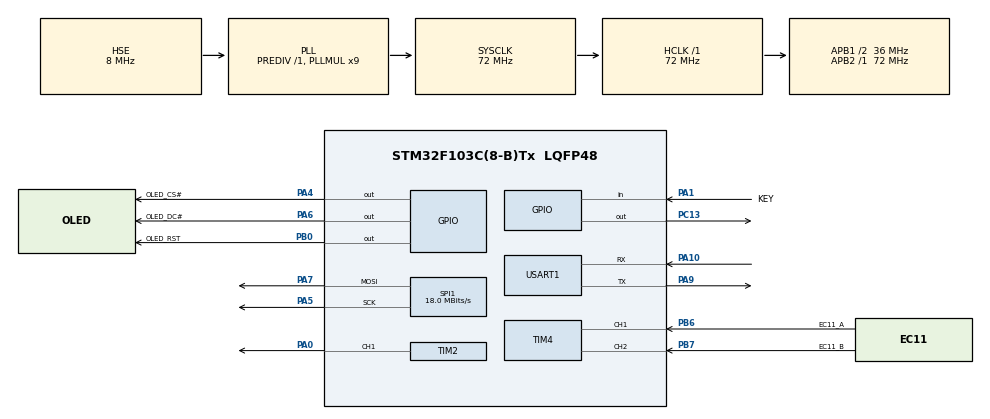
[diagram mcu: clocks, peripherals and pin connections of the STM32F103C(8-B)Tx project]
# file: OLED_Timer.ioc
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Dma.Request0=SPI1_TX
Dma.Request1=USART1_RX
Dma.SPI1_TX.0.Direction=DMA_MEMORY_TO_PERIPH
Dma.SPI1_TX.0.Instance=DMA1_Channel3
Dma.SPI1_TX.0.MemDataAlignment=DMA_MDATAALIGN_BYTE
Dma.SPI1_TX.0.MemInc=DMA_MINC_ENABLE
Dma.SPI1_TX.0.Mode=DMA_NORMAL
Dma.SPI1_TX.0.PeriphDataAlignment=DMA_PDATAALIGN_BYTE
Dma.SPI1_TX.0.PeriphInc=DMA_PINC_DISABLE
Dma.SPI1_TX.0.Priority=DMA_PRIORITY_LOW
Dma.USART1_RX.1.Direction=DMA_PERIPH_TO_MEMORY
Dma.USART1_RX.1.Instance=DMA1_Channel5
Dma.USART1_RX.1.MemDataAlignment=DMA_MDATAALIGN_BYTE
Dma.USART1_RX.1.MemInc=DMA_MINC_ENABLE
Dma.USART1_RX.1.Mode=DMA_NORMAL
Dma.USART1_RX.1.PeriphDataAlignment=DMA_PDATAALIGN_BYTE
Dma.USART1_RX.1.PeriphInc=DMA_PINC_DISABLE
Dma.USART1_RX.1.Priority=DMA_PRIORITY_LOW
Mcu.Family=STM32F1
Mcu.Name=STM32F103C(8-B)Tx
Mcu.Package=LQFP48
NVIC.DMA1_Channel3_IRQn=true\:0\:0\:false\:false\:true\:false\:true\:true
NVIC.DMA1_Channel5_IRQn=true\:0\:0\:false\:false\:true\:false\:true\:true
NVIC.PriorityGroup=NVIC_PRIORITYGROUP_4
NVIC.USART1_IRQn=true\:0\:0\:false\:false\:true\:true\:true\:true
PA0-WKUP.Signal=S_TIM2_CH1_ETR
PA1.GPIO_Label=KEY
PA1.GPIO_PuPd=GPIO_PULLUP
PA1.Signal=GPIO_Input
PA10.Mode=Asynchronous
PA10.Signal=USART1_RX
PA13.Mode=Serial_Wire
PA13.Signal=SYS_JTMS-SWDIO
PA14.Mode=Serial_Wire
PA14.Signal=SYS_JTCK-SWCLK
PA4.GPIO_Label=OLED_CS\#
PA4.Signal=GPIO_Output
PA5.GPIO_Speed=GPIO_SPEED_FREQ_LOW
PA5.Mode=TX_Only_Simplex_Unidirect_Master
PA5.Signal=SPI1_SCK
PA6.GPIO_Label=OLED_DC\#
PA6.Signal=GPIO_Output
PA7.GPIO_Speed=GPIO_SPEED_FREQ_LOW
PA7.Mode=TX_Only_Simplex_Unidirect_Master
PA7.Signal=SPI1_MOSI
PA9.Mode=Asynchronous
PA9.Signal=USART1_TX
PB0.GPIO_Label=OLED_RST
PB0.Signal=GPIO_Output
PB6.GPIO_Label=EC11_A
PB6.GPIO_PuPd=GPIO_NOPULL
PB6.Signal=S_TIM4_CH1
PB7.GPIO_Label=EC11_B
PB7.GPIO_PuPd=GPIO_NOPULL
PB7.Signal=S_TIM4_CH2
PC13-TAMPER-RTC.GPIO_PuPd=GPIO_NOPULL
PC13-TAMPER-RTC.GPIO_Speed=GPIO_SPEED_FREQ_LOW
PC13-TAMPER-RTC.Signal=GPIO_Output
PD0-OSC_IN.Mode=HSE-External-Oscillator
PD0-OSC_IN.Signal=RCC_OSC_IN
PD1-OSC_OUT.Mode=HSE-External-Oscillator
PD1-OSC_OUT.Signal=RCC_OSC_OUT
ProjectManager.HeapSize=0x200
ProjectManager.StackSize=0x400
ProjectManager.TargetToolchain=Makefile
RCC.AHBFreq_Value=72000000
RCC.APB1CLKDivider=RCC_HCLK_DIV2
RCC.APB1Freq_Value=36000000
RCC.APB1TimFreq_Value=72000000
RCC.APB2Freq_Value=72000000
RCC.APB2TimFreq_Value=72000000
RCC.HCLKFreq_Value=72000000
RCC.PLLMUL=RCC_PLL_MUL9
RCC.PLLSourceVirtual=RCC_PLLSOURCE_HSE
RCC.SYSCLKFreq_VALUE=72000000
RCC.SYSCLKSource=RCC_SYSCLKSOURCE_PLLCLK
RCC.USBFreq_Value=72000000
SH.S_TIM2_CH1_ETR.0=TIM2_CH1,PWM Generation1 CH1
SH.S_TIM4_CH1.0=TIM4_CH1,Encoder_Interface
SH.S_TIM4_CH2.0=TIM4_CH2,Encoder_Interface
SPI1.BaudRatePrescaler=SPI_BAUDRATEPRESCALER_4
SPI1.CalculateBaudRate=18.0 MBits/s
SPI1.Direction=SPI_DIRECTION_2LINES
SPI1.Mode=SPI_MODE_MASTER
SPI1.VirtualType=VM_MASTER
TIM2.Channel-PWM\ Generation1\ CH1=TIM_CHANNEL_1
TIM2.Period=20000-1
TIM2.Prescaler=72-1
TIM2.Pulse-PWM\ Generation1\ CH1=500
TIM4.EncoderMode=TIM_ENCODERMODE_TI12
USART1.VirtualMode=VM_ASYNC
VP_TIM2_VS_ClockSourceINT.Mode=Internal
board=custom

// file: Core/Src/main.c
/* USER CODE BEGIN Header */
/**
  ******************************************************************************
  * @file           : main.c
  * @brief          : Main program body
  ******************************************************************************
  * @attention
  *
  * Copyright (c) 2025 STMicroelectronics.
  * All rights reserved.
  *
  * This software is licensed under terms that can be found in the LICENSE file
  * in the root directory of this software component.
  * If no LICENSE file comes with this software, it is provided AS-IS.
  *
  ******************************************************************************
  */
/* USER CODE END Header */
#include "main.h"

/* USER CODE BEGIN Includes */
#include "u8g2_hal.h"
#include "u8g2.h"
#include <stdio.h>
#include <string.h>

u8g2_t u8g2;
/* USER CODE END Includes */

SPI_HandleTypeDef hspi1;
DMA_HandleTypeDef hdma_spi1_tx;

TIM_HandleTypeDef htim2;
TIM_HandleTypeDef htim4;

UART_HandleTypeDef huart1;
DMA_HandleTypeDef hdma_usart1_rx;

/* USER CODE BEGIN PV */
uint8_t uart_rx_data;
uint8_t uart_rx_buf[64];
uint8_t uart_rx_len;
uint32_t uart_disp_last_tick;
uint32_t uart_show_tick;
uint8_t uart_data_ready;
/* USER CODE END PV */

void SystemClock_Config(void);
static void MX_GPIO_Init(void);
static void MX_DMA_Init(void);
static void MX_SPI1_Init(void);
static void MX_TIM4_Init(void);
static void MX_USART1_UART_Init(void);
static void MX_TIM2_Init(void);

int main(void)
{

  /* MCU Configuration--------------------------------------------------------*/

  /* Reset of all peripherals, Initializes the Flash interface and the Systick. */
  HAL_Init();

  /* Configure the system clock */
  SystemClock_Config();

  /* Initialize all configured peripherals */
  MX_GPIO_Init();
  MX_DMA_Init();
  MX_SPI1_Init();
  MX_TIM4_Init();
  MX_USART1_UART_Init();
  MX_TIM2_Init();
  /* USER CODE BEGIN 2 */
  u8g2_Setup_ssd1327_ws_128x128_f(&u8g2, U8G2_R0, u8x8_byte_hw_spi, u8x8_gpio_and_delay_stm32f1);
  u8g2_InitDisplay(&u8g2);
  u8g2_SetPowerSave(&u8g2, 0);

  HAL_TIM_Encoder_Start(&htim4, TIM_CHANNEL_ALL);
  HAL_TIM_PWM_Start(&htim2, TIM_CHANNEL_1);

  int16_t last_count = 0;
  int16_t target_angle = 0;
  uint8_t angle_selected = 0;
  char str_buf[16];
  uint8_t button_pressed = 0;
  uint32_t fps_frame_count = 0;
  uint32_t fps_last_tick = 0;
  uint8_t fps = 0;
  int16_t scroll_x = 128;
  uint32_t scroll_last_tick = 0;

  uart_rx_len = 0;
  memset(uart_rx_buf, 0, sizeof(uart_rx_buf));
  uart_disp_last_tick = 0;
  uart_show_tick = 0;
  uart_data_ready = 0;
  HAL_UART_Receive_IT(&huart1, &uart_rx_data, 1);
  /* USER CODE END 2 */

  /* Infinite loop */
  while (1)
  {

    /* USER CODE BEGIN 3 */
    static uint32_t last_tick = 0;
    if (HAL_GetTick() - last_tick >= 1000) {
      last_tick = HAL_GetTick();
      HAL_GPIO_TogglePin(GPIOC, GPIO_PIN_13);
    }

    fps_frame_count++;
    if (HAL_GetTick() - fps_last_tick >= 100) {
      fps = fps_frame_count;
      fps_frame_count = 0;
      fps_last_tick = HAL_GetTick();
    }

    int16_t current_count = (int16_t)__HAL_TIM_GET_COUNTER(&htim4);
    if (current_count != last_count) {
      int16_t diff = current_count - last_count;
      if (diff >= 4 || diff <= -4) {
        if (angle_selected) {
          target_angle += (diff > 0) ? 5 : -5;
          if (target_angle < 0) target_angle = 0;
          if (target_angle > 180) target_angle = 180;
        }
        last_count = current_count;
      }
    }

    if (HAL_GetTick() - uart_show_tick >= 2000 && uart_rx_len > 0) {
      uart_rx_len = 0;
      memset(uart_rx_buf, 0, sizeof(uart_rx_buf));
    }

    if (HAL_GetTick() - scroll_last_tick >= 50) {
      scroll_last_tick = HAL_GetTick();
      scroll_x--;
      if (scroll_x < -80) {
        scroll_x = 128;
      }

      u8g2_ClearBuffer(&u8g2);

      u8g2_SetFont(&u8g2, u8g2_font_6x10_tr);
      u8g2_DrawStr(&u8g2, scroll_x, 10, "HIT409LAB");

      u8g2_SetFont(&u8g2, u8g2_font_4x6_tr);
      sprintf(str_buf, "%d", fps);
      u8g2_DrawStr(&u8g2, 0, 127, str_buf);

      if (uart_rx_len > 0) {
        u8g2_DrawStr(&u8g2, 0, 40, (char*)uart_rx_buf);
      }

      u8g2_SetFont(&u8g2, u8g2_font_ncenB10_tr);
      if (angle_selected) {
        uint8_t cx = 6, cy = 55;
        u8g2_DrawHLine(&u8g2, cx-3, cy, 7);
        u8g2_DrawVLine(&u8g2, cx, cy-3, 7);
        u8g2_DrawPixel(&u8g2, cx-2, cy-2);
        u8g2_DrawPixel(&u8g2, cx+2, cy-2);
        u8g2_DrawPixel(&u8g2, cx-2, cy+2);
        u8g2_DrawPixel(&u8g2, cx+2, cy+2);
      } else {
        u8g2_DrawStr(&u8g2, 0, 60, ">");
      }
      u8g2_DrawStr(&u8g2, 15, 60, "Servo");
      sprintf(str_buf, "%d", target_angle);
      u8g2_DrawStr(&u8g2, 60, 60, str_buf);
      u8g2_SetDrawColor(&u8g2, 1);

      u8g2_SendBuffer(&u8g2);
    }

    if (HAL_GPIO_ReadPin(GPIOA, GPIO_PIN_1) == GPIO_PIN_RESET) {
      HAL_Delay(50);
      if (HAL_GPIO_ReadPin(GPIOA, GPIO_PIN_1) == GPIO_PIN_RESET) {
        if (!button_pressed) {
          button_pressed = 1;
          if (!angle_selected) {
            angle_selected = 1;
          } else {
            uint16_t pwm = 580 + (target_angle * 11);
            __HAL_TIM_SET_COMPARE(&htim2, TIM_CHANNEL_1, pwm);
            angle_selected = 0;
          }
        }
      }
    } else {
      button_pressed = 0;
    }
  }
  /* USER CODE END 3 */
}

void SystemClock_Config(void)
{
  RCC_OscInitTypeDef RCC_OscInitStruct = {0};
  RCC_ClkInitTypeDef RCC_ClkInitStruct = {0};

  /** Initializes the RCC Oscillators according to the specified parameters
  * in the RCC_OscInitTypeDef structure.
  */
  RCC_OscInitStruct.OscillatorType = RCC_OSCILLATORTYPE_HSE;
  RCC_OscInitStruct.HSEState = RCC_HSE_ON;
  RCC_OscInitStruct.HSEPredivValue = RCC_HSE_PREDIV_DIV1;
  RCC_OscInitStruct.HSIState = RCC_HSI_ON;
  RCC_OscInitStruct.PLL.PLLState = RCC_PLL_ON;
  RCC_OscInitStruct.PLL.PLLSource = RCC_PLLSOURCE_HSE;
  RCC_OscInitStruct.PLL.PLLMUL = RCC_PLL_MUL9;
  if (HAL_RCC_OscConfig(&RCC_OscInitStruct) != HAL_OK)
  {
    Error_Handler();
  }

  /** Initializes the CPU, AHB and APB buses clocks
  */
  RCC_ClkInitStruct.ClockType = RCC_CLOCKTYPE_HCLK|RCC_CLOCKTYPE_SYSCLK
                              |RCC_CLOCKTYPE_PCLK1|RCC_CLOCKTYPE_PCLK2;
  RCC_ClkInitStruct.SYSCLKSource = RCC_SYSCLKSOURCE_PLLCLK;
  RCC_ClkInitStruct.AHBCLKDivider = RCC_SYSCLK_DIV1;
  RCC_ClkInitStruct.APB1CLKDivider = RCC_HCLK_DIV2;
  RCC_ClkInitStruct.APB2CLKDivider = RCC_HCLK_DIV1;

  if (HAL_RCC_ClockConfig(&RCC_ClkInitStruct, FLASH_LATENCY_2) != HAL_OK)
  {
    Error_Handler();
  }
}

static void MX_SPI1_Init(void)
{

  /* SPI1 parameter configuration*/
  hspi1.Instance = SPI1;
  hspi1.Init.Mode = SPI_MODE_MASTER;
  hspi1.Init.Direction = SPI_DIRECTION_2LINES;
  hspi1.Init.DataSize = SPI_DATASIZE_8BIT;
  hspi1.Init.CLKPolarity = SPI_POLARITY_LOW;
  hspi1.Init.CLKPhase = SPI_PHASE_1EDGE;
  hspi1.Init.NSS = SPI_NSS_SOFT;
  hspi1.Init.BaudRatePrescaler = SPI_BAUDRATEPRESCALER_4;
  hspi1.Init.FirstBit = SPI_FIRSTBIT_MSB;
  hspi1.Init.TIMode = SPI_TIMODE_DISABLE;
  hspi1.Init.CRCCalculation = SPI_CRCCALCULATION_DISABLE;
  hspi1.Init.CRCPolynomial = 10;
  if (HAL_SPI_Init(&hspi1) != HAL_OK)
  {
    Error_Handler();
  }

}

static void MX_TIM2_Init(void)
{

  TIM_ClockConfigTypeDef sClockSourceConfig = {0};
  TIM_MasterConfigTypeDef sMasterConfig = {0};
  TIM_OC_InitTypeDef sConfigOC = {0};

  htim2.Instance = TIM2;
  htim2.Init.Prescaler = 72-1;
  htim2.Init.CounterMode = TIM_COUNTERMODE_UP;
  htim2.Init.Period = 20000-1;
  htim2.Init.ClockDivision = TIM_CLOCKDIVISION_DIV1;
  htim2.Init.AutoReloadPreload = TIM_AUTORELOAD_PRELOAD_DISABLE;
  if (HAL_TIM_Base_Init(&htim2) != HAL_OK)
  {
    Error_Handler();
  }
  sClockSourceConfig.ClockSource = TIM_CLOCKSOURCE_INTERNAL;
  if (HAL_TIM_ConfigClockSource(&htim2, &sClockSourceConfig) != HAL_OK)
  {
    Error_Handler();
  }
  if (HAL_TIM_PWM_Init(&htim2) != HAL_OK)
  {
    Error_Handler();
  }
  sMasterConfig.MasterOutputTrigger = TIM_TRGO_RESET;
  sMasterConfig.MasterSlaveMode = TIM_MASTERSLAVEMODE_DISABLE;
  if (HAL_TIMEx_MasterConfigSynchronization(&htim2, &sMasterConfig) != HAL_OK)
  {
    Error_Handler();
  }
  sConfigOC.OCMode = TIM_OCMODE_PWM1;
  sConfigOC.Pulse = 0;
  sConfigOC.OCPolarity = TIM_OCPOLARITY_HIGH;
  sConfigOC.OCFastMode = TIM_OCFAST_DISABLE;
  if (HAL_TIM_PWM_ConfigChannel(&htim2, &sConfigOC, TIM_CHANNEL_1) != HAL_OK)
  {
    Error_Handler();
  }
  HAL_TIM_MspPostInit(&htim2);

}

static void MX_TIM4_Init(void)
{

  TIM_Encoder_InitTypeDef sConfig = {0};
  TIM_MasterConfigTypeDef sMasterConfig = {0};

  htim4.Instance = TIM4;
  htim4.Init.Prescaler = 0;
  htim4.Init.CounterMode = TIM_COUNTERMODE_UP;
  htim4.Init.Period = 65535;
  htim4.Init.ClockDivision = TIM_CLOCKDIVISION_DIV1;
  htim4.Init.AutoReloadPreload = TIM_AUTORELOAD_PRELOAD_DISABLE;
  sConfig.EncoderMode = TIM_ENCODERMODE_TI12;
  sConfig.IC1Polarity = TIM_ICPOLARITY_RISING;
  sConfig.IC1Selection = TIM_ICSELECTION_DIRECTTI;
  sConfig.IC1Prescaler = TIM_ICPSC_DIV1;
  sConfig.IC1Filter = 0;
  sConfig.IC2Polarity = TIM_ICPOLARITY_RISING;
  sConfig.IC2Selection = TIM_ICSELECTION_DIRECTTI;
  sConfig.IC2Prescaler = TIM_ICPSC_DIV1;
  sConfig.IC2Filter = 0;
  if (HAL_TIM_Encoder_Init(&htim4, &sConfig) != HAL_OK)
  {
    Error_Handler();
  }
  sMasterConfig.MasterOutputTrigger = TIM_TRGO_RESET;
  sMasterConfig.MasterSlaveMode = TIM_MASTERSLAVEMODE_DISABLE;
  if (HAL_TIMEx_MasterConfigSynchronization(&htim4, &sMasterConfig) != HAL_OK)
  {
    Error_Handler();
  }

}

static void MX_USART1_UART_Init(void)
{

  huart1.Instance = USART1;
  huart1.Init.BaudRate = 115200;
  huart1.Init.WordLength = UART_WORDLENGTH_8B;
  huart1.Init.StopBits = UART_STOPBITS_1;
  huart1.Init.Parity = UART_PARITY_NONE;
  huart1.Init.Mode = UART_MODE_TX_RX;
  huart1.Init.HwFlowCtl = UART_HWCONTROL_NONE;
  huart1.Init.OverSampling = UART_OVERSAMPLING_16;
  if (HAL_UART_Init(&huart1) != HAL_OK)
  {
    Error_Handler();
  }

}

static void MX_DMA_Init(void)
{

  /* DMA controller clock enable */
  __HAL_RCC_DMA1_CLK_ENABLE();

  /* DMA interrupt init */
  /* DMA1_Channel3_IRQn interrupt configuration */
  HAL_NVIC_SetPriority(DMA1_Channel3_IRQn, 0, 0);
  HAL_NVIC_EnableIRQ(DMA1_Channel3_IRQn);
  /* DMA1_Channel5_IRQn interrupt configuration */
  HAL_NVIC_SetPriority(DMA1_Channel5_IRQn, 0, 0);
  HAL_NVIC_EnableIRQ(DMA1_Channel5_IRQn);

}

static void MX_GPIO_Init(void)
{
  GPIO_InitTypeDef GPIO_InitStruct = {0};

  /* GPIO Ports Clock Enable */
  __HAL_RCC_GPIOC_CLK_ENABLE();
  __HAL_RCC_GPIOD_CLK_ENABLE();
  __HAL_RCC_GPIOA_CLK_ENABLE();
  __HAL_RCC_GPIOB_CLK_ENABLE();

  /*Configure GPIO pin Output Level */
  HAL_GPIO_WritePin(GPIOC, GPIO_PIN_13, GPIO_PIN_RESET);

  /*Configure GPIO pin Output Level */
  HAL_GPIO_WritePin(GPIOA, OLED_CS__Pin|OLED_DC__Pin, GPIO_PIN_RESET);

  /*Configure GPIO pin Output Level */
  HAL_GPIO_WritePin(OLED_RST_GPIO_Port, OLED_RST_Pin, GPIO_PIN_RESET);

  /*Configure GPIO pin : PC13 */
  GPIO_InitStruct.Pin = GPIO_PIN_13;
  GPIO_InitStruct.Mode = GPIO_MODE_OUTPUT_PP;
  GPIO_InitStruct.Pull = GPIO_NOPULL;
  GPIO_InitStruct.Speed = GPIO_SPEED_FREQ_LOW;
  HAL_GPIO_Init(GPIOC, &GPIO_InitStruct);

  /*Configure GPIO pin : KEY_Pin */
  GPIO_InitStruct.Pin = KEY_Pin;
  GPIO_InitStruct.Mode = GPIO_MODE_INPUT;
  GPIO_InitStruct.Pull = GPIO_PULLUP;
  HAL_GPIO_Init(KEY_GPIO_Port, &GPIO_InitStruct);

  /*Configure GPIO pins : OLED_CS__Pin OLED_DC__Pin */
  GPIO_InitStruct.Pin = OLED_CS__Pin|OLED_DC__Pin;
  GPIO_InitStruct.Mode = GPIO_MODE_OUTPUT_PP;
  GPIO_InitStruct.Pull = GPIO_NOPULL;
  GPIO_InitStruct.Speed = GPIO_SPEED_FREQ_LOW;
  HAL_GPIO_Init(GPIOA, &GPIO_InitStruct);

  /*Configure GPIO pin : OLED_RST_Pin */
  GPIO_InitStruct.Pin = OLED_RST_Pin;
  GPIO_InitStruct.Mode = GPIO_MODE_OUTPUT_PP;
  GPIO_InitStruct.Pull = GPIO_NOPULL;
  GPIO_InitStruct.Speed = GPIO_SPEED_FREQ_LOW;
  HAL_GPIO_Init(OLED_RST_GPIO_Port, &GPIO_InitStruct);

  /* USER CODE BEGIN MX_GPIO_Init_2 */
  __HAL_RCC_GPIOB_CLK_ENABLE();

  GPIO_InitStruct.Pin = GPIO_PIN_6 | GPIO_PIN_7;
  GPIO_InitStruct.Mode = GPIO_MODE_INPUT;
  GPIO_InitStruct.Pull = GPIO_PULLUP;
  GPIO_InitStruct.Speed = GPIO_SPEED_FREQ_LOW;
  HAL_GPIO_Init(GPIOB, &GPIO_InitStruct);

  GPIO_InitStruct.Pin = GPIO_PIN_1;
  GPIO_InitStruct.Mode = GPIO_MODE_INPUT;
  GPIO_InitStruct.Pull = GPIO_PULLUP;
  GPIO_InitStruct.Speed = GPIO_SPEED_FREQ_LOW;
  HAL_GPIO_Init(GPIOA, &GPIO_InitStruct);
  /* USER CODE END MX_GPIO_Init_2 */
}

/* USER CODE BEGIN 4 */

void HAL_UART_RxCpltCallback(UART_HandleTypeDef *huart) {
  if (huart->Instance == USART1) {
    if (uart_rx_len < 63) {
      uart_rx_buf[uart_rx_len++] = uart_rx_data;
      if (uart_rx_data == '\n' || uart_rx_data == '\r') {
        uart_rx_buf[uart_rx_len] = '\0';
      }
    }
    uart_show_tick = HAL_GetTick();
    uart_data_ready = 1;
    HAL_UART_Receive_IT(&huart1, &uart_rx_data, 1);
  }
}

/* USER CODE END 4 */

void Error_Handler(void)
{
  __disable_irq();
  while (1)
  {
  }
}
